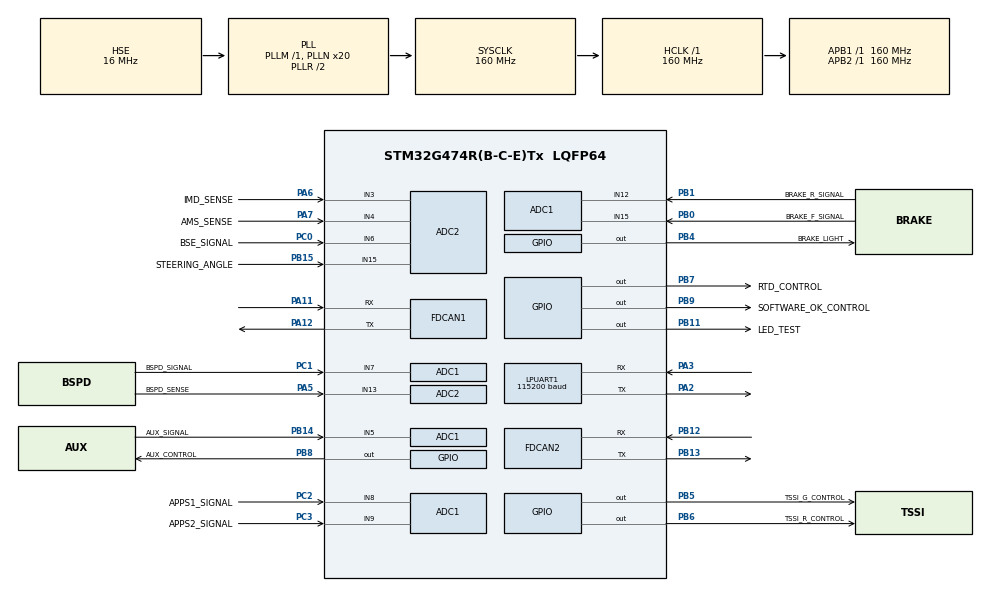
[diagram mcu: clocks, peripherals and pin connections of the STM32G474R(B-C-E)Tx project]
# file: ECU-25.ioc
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ADC1.Channel-2\#ChannelRegularConversion=ADC_CHANNEL_5
ADC1.Channel-3\#ChannelRegularConversion=ADC_CHANNEL_7
ADC1.Channel-4\#ChannelRegularConversion=ADC_CHANNEL_8
ADC1.Channel-5\#ChannelRegularConversion=ADC_CHANNEL_9
ADC1.Channel-6\#ChannelRegularConversion=ADC_CHANNEL_12
ADC1.Channel-7\#ChannelRegularConversion=ADC_CHANNEL_15
ADC1.ClockPrescaler=ADC_CLOCK_ASYNC_DIV256
ADC1.ContinuousConvMode=ENABLE
ADC1.DMAContinuousRequests=ENABLE
ADC1.EOCSelection=ADC_EOC_SEQ_CONV
ADC1.ExternalTrigConv=ADC_SOFTWARE_START
ADC1.NbrOfConversion=6
ADC1.NbrOfConversionFlag=1
ADC1.OffsetNumber-2\#ChannelRegularConversion=ADC_OFFSET_NONE
ADC1.OffsetNumber-3\#ChannelRegularConversion=ADC_OFFSET_NONE
ADC1.OffsetNumber-4\#ChannelRegularConversion=ADC_OFFSET_NONE
ADC1.OffsetNumber-5\#ChannelRegularConversion=ADC_OFFSET_NONE
ADC1.OffsetNumber-6\#ChannelRegularConversion=ADC_OFFSET_NONE
ADC1.OffsetNumber-7\#ChannelRegularConversion=ADC_OFFSET_NONE
ADC1.Rank-2\#ChannelRegularConversion=1
ADC1.Rank-3\#ChannelRegularConversion=2
ADC1.Rank-4\#ChannelRegularConversion=3
ADC1.Rank-5\#ChannelRegularConversion=4
ADC1.Rank-6\#ChannelRegularConversion=5
ADC1.Rank-7\#ChannelRegularConversion=6
ADC1.SamplingTime-2\#ChannelRegularConversion=ADC_SAMPLETIME_92CYCLES_5
ADC1.SamplingTime-3\#ChannelRegularConversion=ADC_SAMPLETIME_92CYCLES_5
ADC1.SamplingTime-4\#ChannelRegularConversion=ADC_SAMPLETIME_92CYCLES_5
ADC1.SamplingTime-5\#ChannelRegularConversion=ADC_SAMPLETIME_92CYCLES_5
ADC1.SamplingTime-6\#ChannelRegularConversion=ADC_SAMPLETIME_92CYCLES_5
ADC1.SamplingTime-7\#ChannelRegularConversion=ADC_SAMPLETIME_92CYCLES_5
ADC1.master=1
ADC2.Channel-1\#ChannelRegularConversion=ADC_CHANNEL_3
ADC2.Channel-2\#ChannelRegularConversion=ADC_CHANNEL_4
ADC2.Channel-3\#ChannelRegularConversion=ADC_CHANNEL_6
ADC2.Channel-4\#ChannelRegularConversion=ADC_CHANNEL_13
ADC2.Channel-5\#ChannelRegularConversion=ADC_CHANNEL_15
ADC2.ClockPrescaler=ADC_CLOCK_ASYNC_DIV256
ADC2.ContinuousConvMode=ENABLE
ADC2.DMAContinuousRequests=ENABLE
ADC2.EOCSelection=ADC_EOC_SEQ_CONV
ADC2.NbrOfConversion=5
ADC2.NbrOfConversionFlag=1
ADC2.OffsetNumber-1\#ChannelRegularConversion=ADC_OFFSET_NONE
ADC2.OffsetNumber-2\#ChannelRegularConversion=ADC_OFFSET_NONE
ADC2.OffsetNumber-3\#ChannelRegularConversion=ADC_OFFSET_NONE
ADC2.OffsetNumber-4\#ChannelRegularConversion=ADC_OFFSET_NONE
ADC2.OffsetNumber-5\#ChannelRegularConversion=ADC_OFFSET_NONE
ADC2.Rank-1\#ChannelRegularConversion=1
ADC2.Rank-2\#ChannelRegularConversion=2
ADC2.Rank-3\#ChannelRegularConversion=3
ADC2.Rank-4\#ChannelRegularConversion=4
ADC2.Rank-5\#ChannelRegularConversion=5
ADC2.SamplingTime-1\#ChannelRegularConversion=ADC_SAMPLETIME_92CYCLES_5
ADC2.SamplingTime-2\#ChannelRegularConversion=ADC_SAMPLETIME_92CYCLES_5
ADC2.SamplingTime-3\#ChannelRegularConversion=ADC_SAMPLETIME_92CYCLES_5
ADC2.SamplingTime-4\#ChannelRegularConversion=ADC_SAMPLETIME_92CYCLES_5
ADC2.SamplingTime-5\#ChannelRegularConversion=ADC_SAMPLETIME_92CYCLES_5
Dma.ADC1.0.Direction=DMA_PERIPH_TO_MEMORY
Dma.ADC1.0.EventEnable=DISABLE
Dma.ADC1.0.Instance=DMA1_Channel1
Dma.ADC1.0.MemDataAlignment=DMA_MDATAALIGN_HALFWORD
Dma.ADC1.0.MemInc=DMA_MINC_ENABLE
Dma.ADC1.0.Mode=DMA_CIRCULAR
Dma.ADC1.0.PeriphDataAlignment=DMA_PDATAALIGN_HALFWORD
Dma.ADC1.0.PeriphInc=DMA_PINC_DISABLE
Dma.ADC1.0.Polarity=HAL_DMAMUX_REQ_GEN_RISING
Dma.ADC1.0.Priority=DMA_PRIORITY_LOW
Dma.ADC1.0.RequestNumber=1
Dma.ADC1.0.SignalID=NONE
Dma.ADC1.0.SyncEnable=DISABLE
Dma.ADC1.0.SyncPolarity=HAL_DMAMUX_SYNC_NO_EVENT
Dma.ADC1.0.SyncRequestNumber=1
Dma.ADC1.0.SyncSignalID=NONE
Dma.ADC2.1.Direction=DMA_PERIPH_TO_MEMORY
Dma.ADC2.1.EventEnable=DISABLE
Dma.ADC2.1.Instance=DMA2_Channel1
Dma.ADC2.1.MemDataAlignment=DMA_MDATAALIGN_HALFWORD
Dma.ADC2.1.MemInc=DMA_MINC_ENABLE
Dma.ADC2.1.Mode=DMA_CIRCULAR
Dma.ADC2.1.PeriphDataAlignment=DMA_PDATAALIGN_HALFWORD
Dma.ADC2.1.PeriphInc=DMA_PINC_DISABLE
Dma.ADC2.1.Polarity=HAL_DMAMUX_REQ_GEN_RISING
Dma.ADC2.1.Priority=DMA_PRIORITY_LOW
Dma.ADC2.1.RequestNumber=1
Dma.ADC2.1.SignalID=NONE
Dma.ADC2.1.SyncEnable=DISABLE
Dma.ADC2.1.SyncPolarity=HAL_DMAMUX_SYNC_NO_EVENT
Dma.ADC2.1.SyncRequestNumber=1
Dma.ADC2.1.SyncSignalID=NONE
Dma.Request0=ADC1
Dma.Request1=ADC2
FDCAN1.AutoRetransmission=ENABLE
FDCAN1.CalculateBaudRateNominal=1000000
FDCAN1.CalculateTimeBitNominal=1000
FDCAN1.CalculateTimeQuantumNominal=50.0
FDCAN1.DataPrescaler=8
FDCAN1.DataSyncJumpWidth=16
FDCAN1.DataTimeSeg1=14
FDCAN1.DataTimeSeg2=5
FDCAN1.ExtFiltersNbr=2
FDCAN1.FrameFormat=FDCAN_FRAME_CLASSIC
FDCAN1.NominalPrescaler=8
FDCAN1.NominalSyncJumpWidth=16
FDCAN1.NominalTimeSeg1=14
FDCAN1.NominalTimeSeg2=5
FDCAN1.StdFiltersNbr=0
FDCAN1.TransmitPause=ENABLE
FDCAN2.AutoRetransmission=ENABLE
FDCAN2.CalculateBaudRateNominal=1000000
FDCAN2.CalculateTimeBitNominal=1000
FDCAN2.CalculateTimeQuantumNominal=50.0
FDCAN2.DataPrescaler=8
FDCAN2.DataSyncJumpWidth=16
FDCAN2.DataTimeSeg1=14
FDCAN2.DataTimeSeg2=5
FDCAN2.ExtFiltersNbr=2
FDCAN2.FrameFormat=FDCAN_FRAME_CLASSIC
FDCAN2.NominalPrescaler=8
FDCAN2.NominalSyncJumpWidth=16
FDCAN2.NominalTimeSeg1=14
FDCAN2.NominalTimeSeg2=5
FDCAN2.StdFiltersNbr=0
FDCAN2.TransmitPause=ENABLE
LPUART1.BaudRate=115200
Mcu.Family=STM32G4
Mcu.Name=STM32G474R(B-C-E)Tx
Mcu.Package=LQFP64
NVIC.FDCAN1_IT0_IRQn=true\:0\:0\:false\:false\:true\:true\:true\:true
NVIC.FDCAN2_IT0_IRQn=true\:0\:0\:false\:false\:true\:true\:true\:true
NVIC.PriorityGroup=NVIC_PRIORITYGROUP_4
PA11.GPIO_PuPd=GPIO_PULLUP
PA11.GPIO_Speed=GPIO_SPEED_FREQ_VERY_HIGH
PA11.Mode=FDCAN_Activate
PA11.Signal=FDCAN1_RX
PA12.GPIO_PuPd=GPIO_NOPULL
PA12.GPIO_Speed=GPIO_SPEED_FREQ_VERY_HIGH
PA12.Mode=FDCAN_Activate
PA12.Signal=FDCAN1_TX
PA13.Mode=Trace_Asynchronous_SW
PA13.Signal=SYS_JTMS-SWDIO
PA14.Mode=Trace_Asynchronous_SW
PA14.Signal=SYS_JTCK-SWCLK
PA2.GPIO_Speed=GPIO_SPEED_FREQ_HIGH
PA2.Mode=Asynchronous
PA2.Signal=LPUART1_TX
PA3.GPIO_Speed=GPIO_SPEED_FREQ_HIGH
PA3.Mode=Asynchronous
PA3.Signal=LPUART1_RX
PA5.GPIO_Label=BSPD_SENSE
PA5.Mode=IN13-Single-Ended
PA5.Signal=ADC2_IN13
PA6.GPIO_Label=IMD_SENSE
PA6.Mode=IN3-Single-Ended
PA6.Signal=ADC2_IN3
PA7.GPIO_Label=AMS_SENSE
PA7.Mode=IN4-Single-Ended
PA7.Signal=ADC2_IN4
PB0.GPIO_Label=BRAKE_F_SIGNAL
PB0.Mode=IN15-Single-Ended
PB0.Signal=ADC1_IN15
PB1.GPIO_Label=BRAKE_R_SIGNAL
PB1.Mode=IN12-Single-Ended
PB1.Signal=ADC1_IN12
PB11.GPIO_Label=LED_TEST
PB11.Signal=GPIO_Output
PB12.GPIO_PuPd=GPIO_PULLUP
PB12.GPIO_Speed=GPIO_SPEED_FREQ_VERY_HIGH
PB12.Mode=FDCAN_Activate
PB12.Signal=FDCAN2_RX
PB13.GPIO_Speed=GPIO_SPEED_FREQ_VERY_HIGH
PB13.Mode=FDCAN_Activate
PB13.Signal=FDCAN2_TX
PB14.GPIO_Label=AUX_SIGNAL
PB14.Mode=IN5-Single-Ended
PB14.Signal=ADC1_IN5
PB15.GPIO_Label=STEERING_ANGLE
PB15.Mode=IN15-Single-Ended
PB15.Signal=ADC2_IN15
PB3.Mode=Trace_Asynchronous_SW
PB3.Signal=SYS_JTDO-SWO
PB4.GPIO_Label=BRAKE_LIGHT
PB4.Signal=GPIO_Output
PB5.GPIO_Label=TSSI_G_CONTROL
PB5.Signal=GPIO_Output
PB6.GPIO_Label=TSSI_R_CONTROL
PB6.Signal=GPIO_Output
PB7.GPIO_Label=RTD_CONTROL
PB7.Signal=GPIO_Output
PB8-BOOT0.GPIO_Label=AUX_CONTROL
PB8-BOOT0.Signal=GPIO_Output
PB9.GPIO_Label=SOFTWARE_OK_CONTROL
PB9.Signal=GPIO_Output
PC0.GPIO_Label=BSE_SIGNAL
PC0.Mode=IN6-Single-Ended
PC0.Signal=ADC2_IN6
PC1.GPIO_Label=BSPD_SIGNAL
PC1.Mode=IN7-Single-Ended
PC1.Signal=ADC1_IN7
PC2.GPIO_Label=APPS1_SIGNAL
PC2.Mode=IN8-Single-Ended
PC2.Signal=ADC1_IN8
PC3.GPIO_Label=APPS2_SIGNAL
PC3.Mode=IN9-Single-Ended
PC3.Signal=ADC1_IN9
PF0-OSC_IN.Mode=HSE-External-Oscillator
PF0-OSC_IN.Signal=RCC_OSC_IN
PF1-OSC_OUT.Mode=HSE-External-Oscillator
PF1-OSC_OUT.Signal=RCC_OSC_OUT
ProjectManager.HeapSize=0x200
ProjectManager.StackSize=0x400
ProjectManager.TargetToolchain=CMake
RCC.ADC12Freq_Value=160000000
RCC.ADC345Freq_Value=160000000
RCC.AHBFreq_Value=160000000
RCC.APB1Freq_Value=160000000
RCC.APB1TimFreq_Value=160000000
RCC.APB2Freq_Value=160000000
RCC.APB2TimFreq_Value=160000000
RCC.CortexFreq_Value=160000000
RCC.EXTERNAL_CLOCK_VALUE=12288000
RCC.EnbaleCSS=true
RCC.HCLKFreq_Value=160000000
RCC.HSE_VALUE=16000000
RCC.HSI48_VALUE=48000000
RCC.HSI_VALUE=16000000
RCC.LSE_VALUE=32768
RCC.PLLN=20
RCC.PLLSourceVirtual=RCC_PLLSOURCE_HSE
RCC.SYSCLKFreq_VALUE=160000000
RCC.SYSCLKSource=RCC_SYSCLKSOURCE_PLLCLK
RCC.USBFreq_Value=160000000
RCC.VCOOutputFreq_Value=320000000
VP_SYS_VS_DBSignals.Mode=DisableDeadBatterySignals
board=custom

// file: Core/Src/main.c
/* USER CODE BEGIN Header */
/**
  ******************************************************************************
  * @file           : main.c
  * @brief          : Main program body
  ******************************************************************************
  * @attention
  *
  * Copyright (c) 2024 STMicroelectronics.
  * All rights reserved.
  *
  * This software is licensed under terms that can be found in the LICENSE file
  * in the root directory of this software component.
  * If no LICENSE file comes with this software, it is provided AS-IS.
  *
  ******************************************************************************
  */
/* USER CODE END Header */
#include "main.h"
#include "adc.h"
#include "dma.h"
#include "fdcan.h"
#include "usart.h"
#include "gpio.h"

/* USER CODE BEGIN Includes */
#include "stateMachine.h"
#include "pinging.h"
#include "msgIDs.h"
#include "utils.h"
#include "driving.h"
/* USER CODE END Includes */

/* USER CODE BEGIN PD */
#ifdef __GNUC__
#define PUTCHAR_PROTOTYPE int __io_putchar(int ch)
#else
#define PUTCHAR_PROTOTYPE int fputc(int ch, FILE *f)
#endif
/* USER CODE END PD */

/* USER CODE BEGIN PM */
PUTCHAR_PROTOTYPE
{
  ITM_SendChar(ch);
  return ch;
}
/* USER CODE END PM */

void SystemClock_Config(void);

int main(void)
{

  /* MCU Configuration--------------------------------------------------------*/

  /* Reset of all peripherals, Initializes the Flash interface and the Systick. */
  HAL_Init();

  /* Configure the system clock */
  SystemClock_Config();

  /* Initialize all configured peripherals */
  MX_GPIO_Init();
  MX_DMA_Init();
  MX_FDCAN1_Init();
  MX_FDCAN2_Init();
  MX_ADC1_Init();
  MX_ADC2_Init();
  MX_LPUART1_UART_Init();
  /* USER CODE BEGIN 2 */

  // 10us ticks
  HAL_SetTickFreq(TICK_FREQ);
  LOGOMATIC("--Boot Finished at Tick %lu--\n", HAL_GetTick());

  #ifdef ENABLE_THREE_MOTORS
  LOGOMATIC("Setup for 3 motors\n");
  #else
  LOGOMATIC("Setup for 1 motor\n");
  #endif

  /* USER CODE END 2 */

  /* Infinite loop */
  while (1)
  {

    /* USER CODE BEGIN 3 */
    // stateMachineTick();
    updateAnalogInputs();
    // pingSchedule();

    LOGOMATIC("%d,\n", globalAnalog.APPS1_SIGNAL);
    HAL_Delay(100);
  }
  /* USER CODE END 3 */
}

void SystemClock_Config(void)
{
  RCC_OscInitTypeDef RCC_OscInitStruct = {0};
  RCC_ClkInitTypeDef RCC_ClkInitStruct = {0};

  /** Configure the main internal regulator output voltage
  */
  HAL_PWREx_ControlVoltageScaling(PWR_REGULATOR_VOLTAGE_SCALE1_BOOST);

  /** Initializes the RCC Oscillators according to the specified parameters
  * in the RCC_OscInitTypeDef structure.
  */
  RCC_OscInitStruct.OscillatorType = RCC_OSCILLATORTYPE_HSE;
  RCC_OscInitStruct.HSEState = RCC_HSE_ON;
  RCC_OscInitStruct.PLL.PLLState = RCC_PLL_ON;
  RCC_OscInitStruct.PLL.PLLSource = RCC_PLLSOURCE_HSE;
  RCC_OscInitStruct.PLL.PLLM = RCC_PLLM_DIV1;
  RCC_OscInitStruct.PLL.PLLN = 20;
  RCC_OscInitStruct.PLL.PLLP = RCC_PLLP_DIV2;
  RCC_OscInitStruct.PLL.PLLQ = RCC_PLLQ_DIV2;
  RCC_OscInitStruct.PLL.PLLR = RCC_PLLR_DIV2;
  if (HAL_RCC_OscConfig(&RCC_OscInitStruct) != HAL_OK)
  {
    Error_Handler();
  }

  /** Initializes the CPU, AHB and APB buses clocks
  */
  RCC_ClkInitStruct.ClockType = RCC_CLOCKTYPE_HCLK|RCC_CLOCKTYPE_SYSCLK
                              |RCC_CLOCKTYPE_PCLK1|RCC_CLOCKTYPE_PCLK2;
  RCC_ClkInitStruct.SYSCLKSource = RCC_SYSCLKSOURCE_PLLCLK;
  RCC_ClkInitStruct.AHBCLKDivider = RCC_SYSCLK_DIV1;
  RCC_ClkInitStruct.APB1CLKDivider = RCC_HCLK_DIV1;
  RCC_ClkInitStruct.APB2CLKDivider = RCC_HCLK_DIV1;

  if (HAL_RCC_ClockConfig(&RCC_ClkInitStruct, FLASH_LATENCY_4) != HAL_OK)
  {
    Error_Handler();
  }

  /** Enables the Clock Security System
  */
  HAL_RCC_EnableCSS();
}

void Error_Handler(void)
{
  /* USER CODE BEGIN Error_Handler_Debug */
  __disable_irq();

  if (globalStatus.TractiveSystemVoltage >= TS_VOLTAGE_OFF_LIMIT)
  {
    globalStatus.ECUState = TS_DISCHARGE_OFF;
  }
  else
  {
    globalStatus.ECUState = ERRORSTATE;
  }

  HAL_FDCAN_DeInit(&hfdcan1);
  HAL_FDCAN_DeInit(&hfdcan2);
  LOGOMATIC("\n--Error Handler Called--\nEverything Is Broken\n");

  HAL_Delay(3);

  HAL_FDCAN_Init(&hfdcan1);
  HAL_FDCAN_Init(&hfdcan2);

  __enable_irq();

  // Tick so we can power down
  stateMachineTick();
  stateMachineTick(); // Just in case

  while(true)
  {
    LOGOMATIC("So Cooked\n");
    writeMessage(PrimaryBusCAN, MSG_DEBUG_2_0, GR_ALL, (uint8_t*)"ECU Fail", 8);
    HAL_Delay(250);
    writeMessage(DataBusCAN, MSG_DEBUG_FD, GR_ALL, (uint8_t*)"ECU Internal Failure", 20);
    HAL_Delay(250);
  }
  /* USER CODE END Error_Handler_Debug */
}
